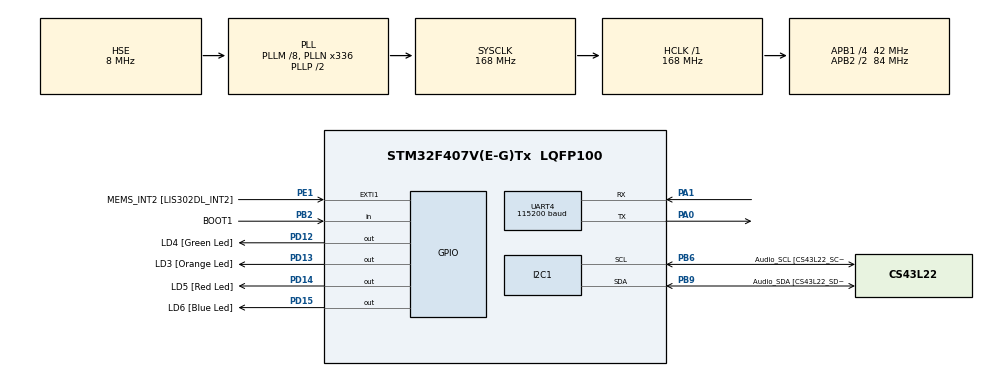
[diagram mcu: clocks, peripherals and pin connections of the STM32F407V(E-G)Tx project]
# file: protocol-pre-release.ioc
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Dma.I2C1_RX.0.Direction=DMA_PERIPH_TO_MEMORY
Dma.I2C1_RX.0.FIFOMode=DMA_FIFOMODE_DISABLE
Dma.I2C1_RX.0.Instance=DMA1_Stream0
Dma.I2C1_RX.0.MemDataAlignment=DMA_MDATAALIGN_BYTE
Dma.I2C1_RX.0.MemInc=DMA_MINC_ENABLE
Dma.I2C1_RX.0.Mode=DMA_NORMAL
Dma.I2C1_RX.0.PeriphDataAlignment=DMA_PDATAALIGN_BYTE
Dma.I2C1_RX.0.PeriphInc=DMA_PINC_DISABLE
Dma.I2C1_RX.0.Priority=DMA_PRIORITY_VERY_HIGH
Dma.I2C1_TX.1.Direction=DMA_MEMORY_TO_PERIPH
Dma.I2C1_TX.1.FIFOMode=DMA_FIFOMODE_DISABLE
Dma.I2C1_TX.1.Instance=DMA1_Stream6
Dma.I2C1_TX.1.MemDataAlignment=DMA_MDATAALIGN_BYTE
Dma.I2C1_TX.1.MemInc=DMA_MINC_ENABLE
Dma.I2C1_TX.1.Mode=DMA_NORMAL
Dma.I2C1_TX.1.PeriphDataAlignment=DMA_PDATAALIGN_BYTE
Dma.I2C1_TX.1.PeriphInc=DMA_PINC_DISABLE
Dma.I2C1_TX.1.Priority=DMA_PRIORITY_VERY_HIGH
Dma.Request0=I2C1_RX
Dma.Request1=I2C1_TX
Dma.Request2=UART4_TX
Dma.UART4_TX.2.Direction=DMA_MEMORY_TO_PERIPH
Dma.UART4_TX.2.FIFOMode=DMA_FIFOMODE_DISABLE
Dma.UART4_TX.2.Instance=DMA1_Stream4
Dma.UART4_TX.2.MemDataAlignment=DMA_MDATAALIGN_BYTE
Dma.UART4_TX.2.MemInc=DMA_MINC_ENABLE
Dma.UART4_TX.2.Mode=DMA_NORMAL
Dma.UART4_TX.2.PeriphDataAlignment=DMA_PDATAALIGN_BYTE
Dma.UART4_TX.2.PeriphInc=DMA_PINC_DISABLE
Dma.UART4_TX.2.Priority=DMA_PRIORITY_MEDIUM
FREERTOS.Queues01=i2cInterruptQueue,1,uint32_t,0,Dynamic,NULL,NULL
FREERTOS.Tasks01=defaultTask,0,128,StartDefaultTask,Default,NULL,Dynamic,NULL,NULL;i2cTask,2,128,StartI2CTask,Default,NULL,Dynamic,NULL,NULL
I2C1.OwnAddress=15
Mcu.Family=STM32F4
Mcu.Name=STM32F407V(E-G)Tx
Mcu.Package=LQFP100
NVIC.DMA1_Stream0_IRQn=true\:5\:0\:false\:false\:true\:true\:false
NVIC.DMA1_Stream4_IRQn=true\:5\:0\:false\:false\:true\:true\:false
NVIC.DMA1_Stream6_IRQn=true\:5\:0\:false\:false\:true\:true\:false
NVIC.I2C1_ER_IRQn=true\:5\:0\:false\:false\:true\:true\:true
NVIC.I2C1_EV_IRQn=true\:5\:0\:false\:false\:true\:true\:true
NVIC.PriorityGroup=NVIC_PRIORITYGROUP_4
NVIC.TIM2_IRQn=true\:0\:0\:false\:false\:true\:false\:false
NVIC.TimeBase=TIM2_IRQn
NVIC.TimeBaseIP=TIM2
NVIC.UART4_IRQn=true\:5\:0\:false\:false\:true\:true\:true
PA0-WKUP.Mode=Asynchronous
PA0-WKUP.Signal=UART4_TX
PA1.Mode=Asynchronous
PA1.Signal=UART4_RX
PA13.GPIO_Label=SWDIO
PA13.Mode=Serial_Wire
PA13.Signal=SYS_JTMS-SWDIO
PA14.GPIO_Label=SWCLK
PA14.Mode=Serial_Wire
PA14.Signal=SYS_JTCK-SWCLK
PB2.GPIO_Label=BOOT1
PB2.GPIO_Mode=GPIO_MODE_INPUT
PB2.GPIO_PuPd=GPIO_NOPULL
PB2.Signal=GPIO_Input
PB6.GPIO_Label=Audio_SCL [CS43L22_SCL]
PB6.GPIO_Mode=GPIO_MODE_AF_OD
PB6.GPIO_PuPd=GPIO_NOPULL
PB6.GPIO_Speed=GPIO_SPEED_FREQ_LOW
PB6.Mode=I2C
PB6.Signal=I2C1_SCL
PB9.GPIO_Label=Audio_SDA [CS43L22_SDA]
PB9.GPIO_Mode=GPIO_MODE_AF_OD
PB9.GPIO_PuPd=GPIO_NOPULL
PB9.GPIO_Speed=GPIO_SPEED_FREQ_LOW
PB9.Mode=I2C
PB9.Signal=I2C1_SDA
PC14-OSC32_IN.GPIO_Label=PC14-OSC32_IN
PC14-OSC32_IN.Mode=LSE-External-Oscillator
PC14-OSC32_IN.Signal=RCC_OSC32_IN
PC15-OSC32_OUT.GPIO_Label=PC15-OSC32_OUT
PC15-OSC32_OUT.Mode=LSE-External-Oscillator
PC15-OSC32_OUT.Signal=RCC_OSC32_OUT
PD12.GPIO_Label=LD4 [Green Led]
PD12.GPIO_PuPd=GPIO_NOPULL
PD12.GPIO_Speed=GPIO_SPEED_FREQ_LOW
PD12.Signal=GPIO_Output
PD13.GPIO_Label=LD3 [Orange Led]
PD13.GPIO_PuPd=GPIO_NOPULL
PD13.GPIO_Speed=GPIO_SPEED_FREQ_LOW
PD13.Signal=GPIO_Output
PD14.GPIO_Label=LD5 [Red Led]
PD14.GPIO_PuPd=GPIO_NOPULL
PD14.GPIO_Speed=GPIO_SPEED_FREQ_LOW
PD14.Signal=GPIO_Output
PD15.GPIO_Label=LD6 [Blue Led]
PD15.GPIO_PuPd=GPIO_NOPULL
PD15.GPIO_Speed=GPIO_SPEED_FREQ_LOW
PD15.Signal=GPIO_Output
PE1.GPIO_Label=MEMS_INT2 [LIS302DL_INT2]
PE1.GPIO_ModeDefaultEXTI=GPIO_MODE_EVT_RISING
PE1.GPIO_PuPd=GPIO_NOPULL
PE1.Signal=GPXTI1
PH0-OSC_IN.GPIO_Label=PH0-OSC_IN
PH0-OSC_IN.Mode=HSE-External-Oscillator
PH0-OSC_IN.Signal=RCC_OSC_IN
PH1-OSC_OUT.GPIO_Label=PH1-OSC_OUT
PH1-OSC_OUT.Mode=HSE-External-Oscillator
PH1-OSC_OUT.Signal=RCC_OSC_OUT
ProjectManager.HeapSize=0x200
ProjectManager.StackSize=0x400
ProjectManager.TargetToolchain=SW4STM32
RCC.48MHZClocksFreq_Value=48000000
RCC.AHBFreq_Value=168000000
RCC.APB1CLKDivider=RCC_HCLK_DIV4
RCC.APB1Freq_Value=42000000
RCC.APB1TimFreq_Value=84000000
RCC.APB2CLKDivider=RCC_HCLK_DIV2
RCC.APB2Freq_Value=84000000
RCC.APB2TimFreq_Value=168000000
RCC.CortexFreq_Value=168000000
RCC.HCLKFreq_Value=168000000
RCC.HSE_VALUE=8000000
RCC.HSI_VALUE=16000000
RCC.PLLM=8
RCC.PLLN=336
RCC.PLLQ=7
RCC.PLLSourceVirtual=RCC_PLLSOURCE_HSE
RCC.SYSCLKFreq_VALUE=168000000
RCC.SYSCLKSource=RCC_SYSCLKSOURCE_PLLCLK
RCC.VCOOutputFreq_Value=336000000
UART4.BaudRate=115200
UART4.VirtualMode=Asynchronous
VP_FREERTOS_VS_ENABLE.Mode=Enabled
VP_SYS_VS_tim2.Mode=TIM2
board=STM32F4DISCOVERY

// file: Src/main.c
/**
  ******************************************************************************
  * @file           : main.c
  * @brief          : Main program body
  ******************************************************************************
  * This notice applies to any and all portions of this file
  * that are not between comment pairs USER CODE BEGIN and
  * USER CODE END. Other portions of this file, whether
  * inserted by the user or by software development tools
  * are owned by their respective copyright owners.
  *
  * Copyright (c) 2018 STMicroelectronics International N.V.
  * All rights reserved.
  *
  * Redistribution and use in source and binary forms, with or without
  * modification, are permitted, provided that the following conditions are met:
  *
  * 1. Redistribution of source code must retain the above copyright notice,
  *    this list of conditions and the following disclaimer.
  * 2. Redistributions in binary form must reproduce the above copyright notice,
  *    this list of conditions and the following disclaimer in the documentation
  *    and/or other materials provided with the distribution.
  * 3. Neither the name of STMicroelectronics nor the names of other
  *    contributors to this software may be used to endorse or promote products
  *    derived from this software without specific written permission.
  * 4. This software, including modifications and/or derivative works of this
  *    software, must execute solely and exclusively on microcontroller or
  *    microprocessor devices manufactured by or for STMicroelectronics.
  * 5. Redistribution and use of this software other than as permitted under
  *    this license is void and will automatically terminate your rights under
  *    this license.
  *
  * THIS SOFTWARE IS PROVIDED BY STMICROELECTRONICS AND CONTRIBUTORS "AS IS"
  * AND ANY EXPRESS, IMPLIED OR STATUTORY WARRANTIES, INCLUDING, BUT NOT
  * LIMITED TO, THE IMPLIED WARRANTIES OF MERCHANTABILITY, FITNESS FOR A
  * PARTICULAR PURPOSE AND NON-INFRINGEMENT OF THIRD PARTY INTELLECTUAL PROPERTY
  * RIGHTS ARE DISCLAIMED TO THE FULLEST EXTENT PERMITTED BY LAW. IN NO EVENT
  * SHALL STMICROELECTRONICS OR CONTRIBUTORS BE LIABLE FOR ANY DIRECT, INDIRECT,
  * INCIDENTAL, SPECIAL, EXEMPLARY, OR CONSEQUENTIAL DAMAGES (INCLUDING, BUT NOT
  * LIMITED TO, PROCUREMENT OF SUBSTITUTE GOODS OR SERVICES; LOSS OF USE, DATA,
  * OR PROFITS; OR BUSINESS INTERRUPTION) HOWEVER CAUSED AND ON ANY THEORY OF
  * LIABILITY, WHETHER IN CONTRACT, STRICT LIABILITY, OR TORT (INCLUDING
  * NEGLIGENCE OR OTHERWISE) ARISING IN ANY WAY OUT OF THE USE OF THIS SOFTWARE,
  * EVEN IF ADVISED OF THE POSSIBILITY OF SUCH DAMAGE.
  *
  ******************************************************************************
  */
#include "main.h"
#include "stm32f4xx_hal.h"
#include "cmsis_os.h"
#include "dma.h"
#include "i2c.h"
#include "usart.h"
#include "gpio.h"

/* USER CODE BEGIN PV */
/* Private variables ---------------------------------------------------------*/

/* USER CODE END PV */

void SystemClock_Config(void);
void MX_FREERTOS_Init(void);

/* USER CODE BEGIN PFP */
/* Private function prototypes -----------------------------------------------*/

/* USER CODE END PFP */

int main(void)
{

  /* MCU Configuration----------------------------------------------------------*/

  /* Reset of all peripherals, Initializes the Flash interface and the Systick. */
  HAL_Init();

  /* Configure the system clock */
  SystemClock_Config();

  /* Initialize all configured peripherals */
  MX_GPIO_Init();
  MX_DMA_Init();
  MX_I2C1_Init();
  MX_UART4_Init();

  /* Call init function for freertos objects (in freertos.c) */
  MX_FREERTOS_Init();

  /* Start scheduler */
  osKernelStart();

  /* We should never get here as control is now taken by the scheduler */

  /* Infinite loop */
  while (1)
  {

  }

}

void SystemClock_Config(void)
{

  RCC_OscInitTypeDef RCC_OscInitStruct;
  RCC_ClkInitTypeDef RCC_ClkInitStruct;

    /**Configure the main internal regulator output voltage
    */
  __HAL_RCC_PWR_CLK_ENABLE();

  __HAL_PWR_VOLTAGESCALING_CONFIG(PWR_REGULATOR_VOLTAGE_SCALE1);

    /**Initializes the CPU, AHB and APB busses clocks
    */
  RCC_OscInitStruct.OscillatorType = RCC_OSCILLATORTYPE_HSE;
  RCC_OscInitStruct.HSEState = RCC_HSE_ON;
  RCC_OscInitStruct.PLL.PLLState = RCC_PLL_ON;
  RCC_OscInitStruct.PLL.PLLSource = RCC_PLLSOURCE_HSE;
  RCC_OscInitStruct.PLL.PLLM = 8;
  RCC_OscInitStruct.PLL.PLLN = 336;
  RCC_OscInitStruct.PLL.PLLP = RCC_PLLP_DIV2;
  RCC_OscInitStruct.PLL.PLLQ = 7;
  if (HAL_RCC_OscConfig(&RCC_OscInitStruct) != HAL_OK)
  {
    _Error_Handler(__FILE__, __LINE__);
  }

    /**Initializes the CPU, AHB and APB busses clocks
    */
  RCC_ClkInitStruct.ClockType = RCC_CLOCKTYPE_HCLK|RCC_CLOCKTYPE_SYSCLK
                              |RCC_CLOCKTYPE_PCLK1|RCC_CLOCKTYPE_PCLK2;
  RCC_ClkInitStruct.SYSCLKSource = RCC_SYSCLKSOURCE_PLLCLK;
  RCC_ClkInitStruct.AHBCLKDivider = RCC_SYSCLK_DIV1;
  RCC_ClkInitStruct.APB1CLKDivider = RCC_HCLK_DIV4;
  RCC_ClkInitStruct.APB2CLKDivider = RCC_HCLK_DIV2;

  if (HAL_RCC_ClockConfig(&RCC_ClkInitStruct, FLASH_LATENCY_5) != HAL_OK)
  {
    _Error_Handler(__FILE__, __LINE__);
  }

    /**Configure the Systick interrupt time
    */
  HAL_SYSTICK_Config(HAL_RCC_GetHCLKFreq()/1000);

    /**Configure the Systick
    */
  HAL_SYSTICK_CLKSourceConfig(SYSTICK_CLKSOURCE_HCLK);

  /* SysTick_IRQn interrupt configuration */
  HAL_NVIC_SetPriority(SysTick_IRQn, 15, 0);
}

void HAL_TIM_PeriodElapsedCallback(TIM_HandleTypeDef *htim)
{
  if (htim->Instance == TIM2) {
    HAL_IncTick();
  }
}

void _Error_Handler(char *file, int line)
{
  while(1)
  {
  }
}

/************************ (C) COPYRIGHT STMicroelectronics *****END OF FILE****/

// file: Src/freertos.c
/**
  ******************************************************************************
  * File Name          : freertos.c
  * Description        : Code for freertos applications
  ******************************************************************************
  * This notice applies to any and all portions of this file
  * that are not between comment pairs USER CODE BEGIN and
  * USER CODE END. Other portions of this file, whether
  * inserted by the user or by software development tools
  * are owned by their respective copyright owners.
  *
  * Copyright (c) 2018 STMicroelectronics International N.V.
  * All rights reserved.
  *
  * Redistribution and use in source and binary forms, with or without
  * modification, are permitted, provided that the following conditions are met:
  *
  * 1. Redistribution of source code must retain the above copyright notice,
  *    this list of conditions and the following disclaimer.
  * 2. Redistributions in binary form must reproduce the above copyright notice,
  *    this list of conditions and the following disclaimer in the documentation
  *    and/or other materials provided with the distribution.
  * 3. Neither the name of STMicroelectronics nor the names of other
  *    contributors to this software may be used to endorse or promote products
  *    derived from this software without specific written permission.
  * 4. This software, including modifications and/or derivative works of this
  *    software, must execute solely and exclusively on microcontroller or
  *    microprocessor devices manufactured by or for STMicroelectronics.
  * 5. Redistribution and use of this software other than as permitted under
  *    this license is void and will automatically terminate your rights under
  *    this license.
  *
  * THIS SOFTWARE IS PROVIDED BY STMICROELECTRONICS AND CONTRIBUTORS "AS IS"
  * AND ANY EXPRESS, IMPLIED OR STATUTORY WARRANTIES, INCLUDING, BUT NOT
  * LIMITED TO, THE IMPLIED WARRANTIES OF MERCHANTABILITY, FITNESS FOR A
  * PARTICULAR PURPOSE AND NON-INFRINGEMENT OF THIRD PARTY INTELLECTUAL PROPERTY
  * RIGHTS ARE DISCLAIMED TO THE FULLEST EXTENT PERMITTED BY LAW. IN NO EVENT
  * SHALL STMICROELECTRONICS OR CONTRIBUTORS BE LIABLE FOR ANY DIRECT, INDIRECT,
  * INCIDENTAL, SPECIAL, EXEMPLARY, OR CONSEQUENTIAL DAMAGES (INCLUDING, BUT NOT
  * LIMITED TO, PROCUREMENT OF SUBSTITUTE GOODS OR SERVICES; LOSS OF USE, DATA,
  * OR PROFITS; OR BUSINESS INTERRUPTION) HOWEVER CAUSED AND ON ANY THEORY OF
  * LIABILITY, WHETHER IN CONTRACT, STRICT LIABILITY, OR TORT (INCLUDING
  * NEGLIGENCE OR OTHERWISE) ARISING IN ANY WAY OUT OF THE USE OF THIS SOFTWARE,
  * EVEN IF ADVISED OF THE POSSIBILITY OF SUCH DAMAGE.
  *
  ******************************************************************************
  */

#include "FreeRTOS.h"
#include "task.h"
#include "cmsis_os.h"

/* USER CODE BEGIN Includes */
#include <string.h>
#include <stdlib.h>
#include "dma.h"
#include "i2c.h"
#include "usart.h"
#include "obs_protocol.h"
/* USER CODE END Includes */

osThreadId defaultTaskHandle;
osThreadId i2cTaskHandle;
osMessageQId i2cInterruptQueueHandle;

/* USER CODE BEGIN Variables */
uint8_t i2cRxBuffer[COMMON_PARCEL_LENGTH] = { 0 };
/* USER CODE END Variables */

void StartDefaultTask(void const * argument);
void StartI2CTask(void const * argument);

void MX_FREERTOS_Init(void); /* (MISRA C 2004 rule 8.1) */

/* USER CODE BEGIN FunctionPrototypes */
void processParcel(const uint8_t *parcel);
void logHalErrorUart(int8_t errorCode);
void logProtocolErrorUart(int8_t errorCode);
void sendPositionUart(const obs_position_t *position);
void sendPointsUart(const obs_points_t *points);
/* USER CODE END FunctionPrototypes */

/* Hook prototypes */

/* Init FreeRTOS */

void MX_FREERTOS_Init(void) {

  /* Create the thread(s) */
  /* definition and creation of defaultTask */
  osThreadDef(defaultTask, StartDefaultTask, osPriorityNormal, 0, 128);
  defaultTaskHandle = osThreadCreate(osThread(defaultTask), NULL);

  /* definition and creation of i2cTask */
  osThreadDef(i2cTask, StartI2CTask, osPriorityHigh, 0, 128);
  i2cTaskHandle = osThreadCreate(osThread(i2cTask), NULL);

  /* Create the queue(s) */
  /* definition and creation of i2cInterruptQueue */
  osMessageQDef(i2cInterruptQueue, 1, uint32_t);
  i2cInterruptQueueHandle = osMessageCreate(osMessageQ(i2cInterruptQueue), NULL);

}

/* StartDefaultTask function */
void StartDefaultTask(void const * argument)
{

  for(;;)
  {
    osDelay(1);
  }
}

/* StartI2CTask function */
void StartI2CTask(void const * argument)
{
  /* USER CODE BEGIN StartI2CTask */
  uint16_t bufferSize = sizeof(i2cRxBuffer);
  uint32_t i2cErrorCode = 0;
  logHalErrorUart(i2cErrorCode);
  /* Infinite loop */
  for(;;)
  {
	  HAL_StatusTypeDef status = HAL_I2C_Slave_Receive_DMA(&hi2c1, i2cRxBuffer, bufferSize);
	  if (status == HAL_OK)
	  {
		  BaseType_t passed = xQueueReceive(i2cInterruptQueueHandle, (void*)&i2cErrorCode, portMAX_DELAY);
		  if (passed != pdPASS)
		  {
			  continue;
		  }

		  if (i2cErrorCode == HAL_I2C_ERROR_NONE || i2cErrorCode == HAL_I2C_ERROR_AF)
		  {
			  processParcel(i2cRxBuffer);
		  }
		  else
		  {
			  logHalErrorUart(i2cErrorCode);
		  }
	  }
  }
  /* USER CODE END StartI2CTask */
}

/* USER CODE BEGIN Application */
void processParcel(const uint8_t *parcel)
{
	obs_message_type_t messageType;
	uint8_t err = resolveMessageType(parcel, &messageType);
	if (err != NO_ERROR)
	{
		logProtocolErrorUart(err);
		return;
	}

	if (messageType == POSITION)
	{
		obs_position_t position;
		err = decodePositionMessage(parcel, &position);
		if (err != NO_ERROR)
		{
			logProtocolErrorUart(err);
			return;
		}
		sendPositionUart(&position);
	}
	else
	{
		obs_points_t points;
		err = decodePointsMessage(parcel, &points);
		if (err != NO_ERROR)
		{
			logProtocolErrorUart(err);
			return;
		}
		sendPointsUart(&points);
	}
}

void HAL_I2C_SlaveRxCpltCallback(I2C_HandleTypeDef* hi2c)
{
	uint32_t errorCode = HAL_I2C_GetError(hi2c);
	BaseType_t taskWoken = pdFALSE;
	xQueueSendFromISR(i2cInterruptQueueHandle, (void*)&errorCode, &taskWoken);
	if (taskWoken == pdTRUE)
	{
		portYIELD_FROM_ISR(taskWoken);
	}
}

void HAL_I2C_ErrorCallback(I2C_HandleTypeDef* hi2c)
{
	uint32_t errorCode = HAL_I2C_GetError(hi2c);
	BaseType_t taskWoken = pdFALSE;
	xQueueSendFromISR(i2cInterruptQueueHandle, (void*)&errorCode, &taskWoken);
	if (taskWoken == pdTRUE)
	{
		portYIELD_FROM_ISR(taskWoken);
	}
}

void logHalErrorUart(int8_t errorCode)
{
	char messageStr[30];
	sprintf(messageStr, "HAL error code: %d\r\n", errorCode);
	HAL_UART_Transmit_DMA(&huart4, (uint8_t*)messageStr, strlen(messageStr));
}

void logProtocolErrorUart(int8_t errorCode)
{
	char messageStr[30];
	sprintf(messageStr, "Protocol error code: %d\r\n", errorCode);
	HAL_UART_Transmit_DMA(&huart4, (uint8_t*)messageStr, strlen(messageStr));
}

void sendPositionUart(const obs_position_t *position)
{
	char messageStr[30];
	sprintf(messageStr, "X: %f; Y: %f; Voltage: %f;\r\n", position->x, position->y, position->voltage);
	HAL_UART_Transmit_DMA(&huart4, (uint8_t*)messageStr, strlen(messageStr));
}

void sendPointsUart(const obs_points_t *points)
{
	char messageStr[30];
	sprintf(messageStr, "1: %f; 7: %f; 15: %f;\r\n", points->points[0], points->points[6], points->points[15]);
	HAL_UART_Transmit_DMA(&huart4, (uint8_t*)messageStr, strlen(messageStr));
}
/* USER CODE END Application */

/************************ (C) COPYRIGHT STMicroelectronics *****END OF FILE****/
